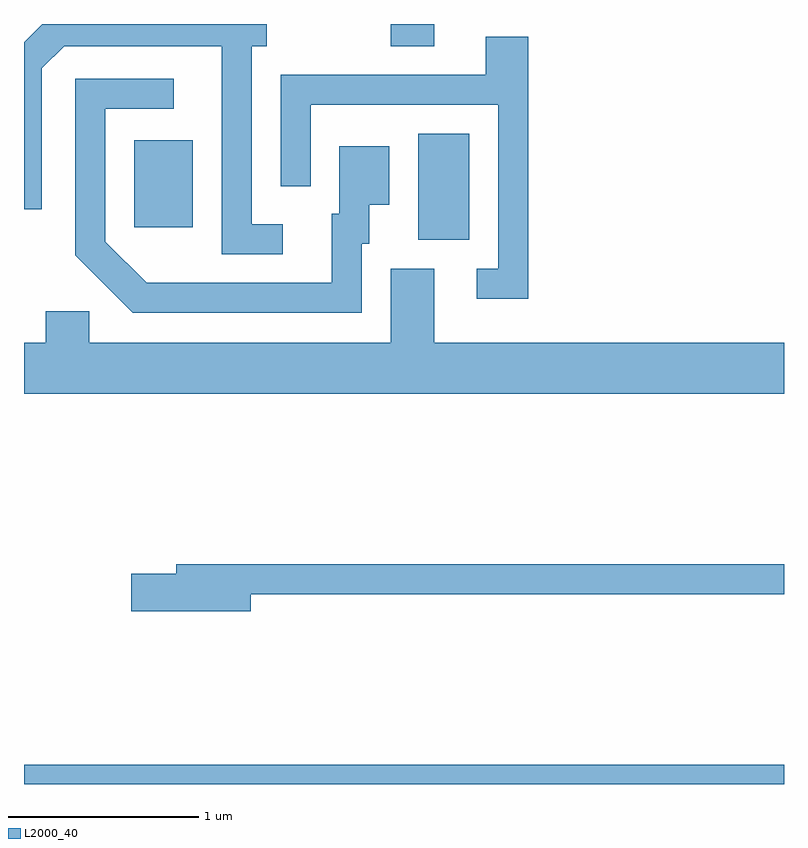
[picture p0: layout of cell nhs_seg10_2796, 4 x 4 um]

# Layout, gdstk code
import gdstk
lib = gdstk.Library(unit=1e-6, precision=1e-09)
def R(c, l, rs):  # rectangles x0, y0, x1, y1
    for r in rs: c.add(gdstk.rectangle(r[:2], r[2:], *l))
def P(c, l, *ps):  # polygons
    for p in ps: c.add(gdstk.Polygon(p, *l))
L2000_40 = (2000, 40)

nhs_seg10_2796 = lib.new_cell('nhs_seg10_2796')
R(nhs_seg10_2796, L2000_40, [(267.611,2118.522,271.611,2118.624), (269.686,2121.386,269.954,2121.944), (268.191,2121.451,268.499,2121.909), (269.541,2122.406,269.769,2122.522)])
P(nhs_seg10_2796, L2000_40, [(268.973,2121.469),(268.809,2121.469),(268.809,2122.406),(268.888,2122.406),(268.888,2122.522),(267.707,2122.522),(267.611,2122.427),(267.611,2121.548),(267.704,2121.548),(267.704,2122.289),(267.822,2122.406),(268.651,2122.406),(268.651,2121.311),(268.973,2121.311)],
  [(270.264,2122.454),(270.041,2122.454),(270.041,2122.254),(268.961,2122.254),(268.961,2121.668),(269.119,2121.668),(269.119,2122.096),(270.106,2122.096),(270.106,2121.234),(269.993,2121.234),(269.993,2121.076),(270.264,2121.076)],
  [(269.389,2121.366),(269.429,2121.366),(269.429,2121.571),(269.534,2121.571),(269.534,2121.879),(269.271,2121.879),(269.271,2121.524),(269.231,2121.524),(269.231,2121.159),(268.257,2121.159),(268.039,2121.377),(268.039,2122.076),(268.398,2122.076),(268.398,2122.234),(267.881,2122.234),(267.881,2121.304),(268.184,2121.001),(269.389,2121.001)],
  [(271.611,2120.844),(269.769,2120.844),(269.769,2121.234),(269.541,2121.234),(269.541,2120.844),(267.954,2120.844),(267.954,2121.009),(267.726,2121.009),(267.726,2120.844),(267.611,2120.844),(267.611,2120.576),(271.611,2120.576)],
  [(268.804,2119.521),(271.611,2119.521),(271.611,2119.679),(268.411,2119.679),(268.411,2119.629),(268.176,2119.629),(268.176,2119.431),(268.804,2119.431)])

lib.write_gds('nhs_seg10_2796.gds')
